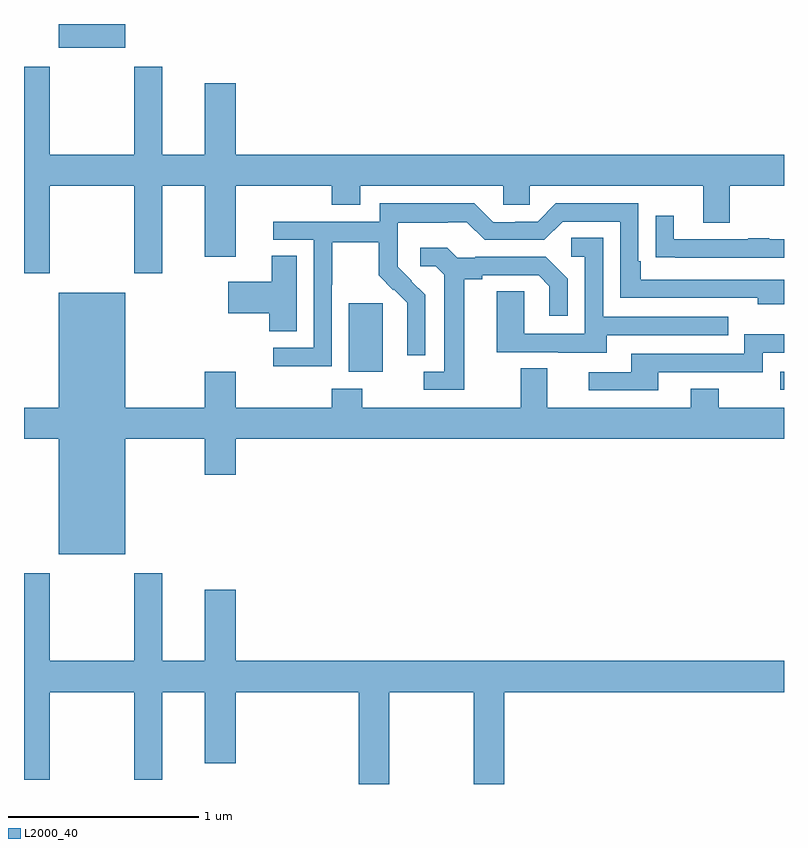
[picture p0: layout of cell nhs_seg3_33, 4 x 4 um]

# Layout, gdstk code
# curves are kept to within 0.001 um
import gdstk
lib = gdstk.Library(unit=1e-6, precision=1e-09)
def R(c, l, rs):  # rectangles x0, y0, x1, y1
    for r in rs: c.add(gdstk.rectangle(r[:2], r[2:], *l))
def P(c, l, *ps):  # polygons
    for p in ps: c.add(gdstk.Polygon(p, *l))
L2000_40 = (2000, 40)

nhs_seg3_33 = lib.new_cell('nhs_seg3_33')
R(nhs_seg3_33, L2000_40, [(114.981,734.475,115,734.571), (112.709,734.57,112.888,734.931), (111.182,736.274,111.532,736.4)])
P(nhs_seg3_33, L2000_40, [(111.135,735.548),(111.58,735.548),(111.58,735.087),(111.727,735.087),(111.727,735.548),(111.95,735.548),(111.95,735.174),(112.114,735.174),(112.114,735.548),(112.619,735.548),(112.619,735.449),(112.771,735.449),(112.771,735.548),(113.523,735.548),(113.523,735.45),(113.661,735.45),(113.661,735.548),(114.575,735.548),(114.575,735.354),(114.715,735.354),(114.715,735.548),(115,735.548),(115,735.712),(112.114,735.712),(112.114,736.087),(111.95,736.087),(111.95,735.712),(111.727,735.712),(111.727,736.174),(111.58,736.174),(111.58,735.712),(111.135,735.712),(111.135,736.174),(111,736.174),(111,735.087),(111.135,735.087)],
  [(112.62,735.028),(112.623,735.028),(112.623,735.252),(112.867,735.252),(112.867,735.077),(112.944,735),(112.947,735.003),(113.018,734.933),(113.018,734.81),(113.016,734.81),(113.016,734.656),(113.112,734.656),(113.112,734.974),(112.966,735.122),(112.966,735.219),(112.968,735.219),(112.968,735.353),(113.231,735.353),(113.231,735.357),(113.331,735.357),(113.424,735.264),(113.739,735.264),(113.835,735.36),(114.138,735.36),(114.138,734.958),(114.863,734.958),(114.863,734.924),(115,734.924),(115,735.054),(114.247,735.054),(114.247,735.151),(114.234,735.151),(114.234,735.456),(113.799,735.456),(113.703,735.36),(113.585,735.36),(113.585,735.357),(113.469,735.357),(113.369,735.457),(112.872,735.457),(112.872,735.36),(112.311,735.36),(112.311,735.264),(112.524,735.264),(112.524,734.697),(112.311,734.697),(112.311,734.599),(112.62,734.599)],
  [(115,735.267),(114.923,735.267),(114.923,735.272),(114.811,735.272),(114.811,735.267),(114.421,735.267),(114.421,735.391),(114.325,735.391),(114.325,735.172),(114.427,735.172),(114.427,735.171),(115,735.171)],
  [(114.067,734.763),(114.707,734.763),(114.707,734.859),(114.048,734.859),(114.048,735.275),(113.88,735.275),(113.88,735.174),(113.952,735.174),(113.952,734.769),(113.634,734.769),(113.634,734.993),(113.489,734.993),(113.489,734.673),(113.813,734.673),(113.813,734.669),(114.067,734.669)],
  [(113.317,735.056),(113.413,735.056),(113.413,735.078),(113.708,735.078),(113.765,735.021),(113.765,734.865),(113.862,734.865),(113.862,735.058),(113.746,735.174),(113.374,735.174),(113.374,735.171),(113.28,735.171),(113.228,735.223),(113.085,735.223),(113.085,735.126),(113.166,735.126),(113.213,735.079),(113.213,734.571),(113.103,734.571),(113.103,734.475),(113.317,734.475)],
  [(112.435,735.179),(112.304,735.179),(112.304,735.043),(112.074,735.043),(112.074,734.878),(112.292,734.878),(112.292,734.782),(112.435,734.782)],
  [(111.532,734.216),(111.95,734.216),(111.95,734.028),(112.114,734.028),(112.114,734.216),(115,734.216),(115,734.38),(114.657,734.38),(114.657,734.479),(114.509,734.479),(114.509,734.38),(113.755,734.38),(113.755,734.588),(113.615,734.588),(113.615,734.38),(112.779,734.38),(112.779,734.479),(112.619,734.479),(112.619,734.38),(112.114,734.38),(112.114,734.569),(111.95,734.569),(111.95,734.38),(111.532,734.38),(111.532,734.986),(111.182,734.986),(111.182,734.38),(111,734.38),(111,734.216),(111.182,734.216),(111.182,733.61),(111.532,733.61)],
  [(114.337,734.568),(114.888,734.568),(114.888,734.67),(115,734.67),(115,734.767),(114.792,734.767),(114.792,734.664),(114.197,734.664),(114.197,734.568),(113.973,734.568),(113.973,734.472),(114.337,734.472)],
  [(112.923,732.884),(113.368,732.884),(113.368,732.4),(113.528,732.4),(113.528,732.884),(115,732.884),(115,733.048),(112.114,733.048),(112.114,733.423),(111.95,733.423),(111.95,733.048),(111.727,733.048),(111.727,733.51),(111.58,733.51),(111.58,733.048),(111.135,733.048),(111.135,733.51),(111,733.51),(111,732.423),(111.135,732.423),(111.135,732.884),(111.58,732.884),(111.58,732.423),(111.727,732.423),(111.727,732.884),(111.95,732.884),(111.95,732.51),(112.114,732.51),(112.114,732.884),(112.763,732.884),(112.763,732.4),(112.923,732.4)])

lib.write_gds('nhs_seg3_33.gds')
